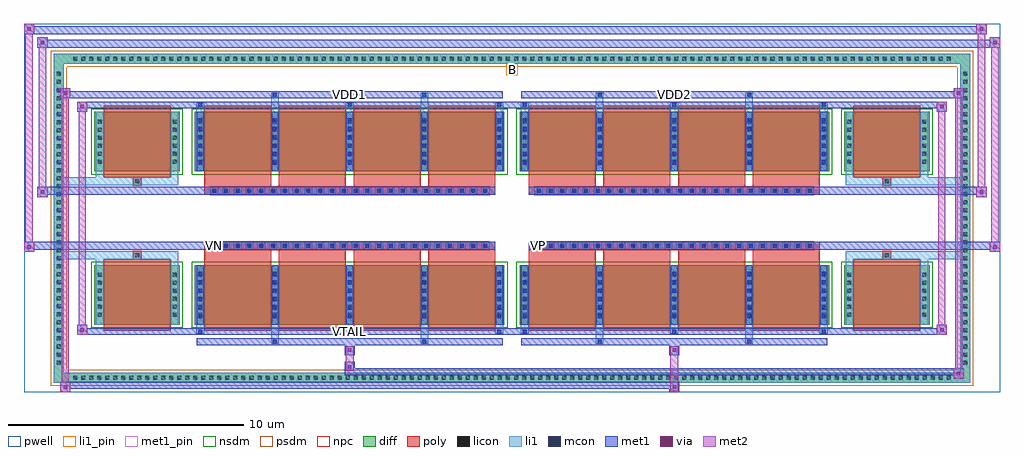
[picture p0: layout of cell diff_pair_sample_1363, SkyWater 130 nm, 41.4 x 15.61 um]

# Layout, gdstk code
import gdstk
lib = gdstk.Library(unit=1e-6, precision=5e-09)
def R(c, l, rs):  # rectangles x0, y0, x1, y1
    for r in rs: c.add(gdstk.rectangle(r[:2], r[2:], *l))
def A(c, l, x, y, w, h, nx, ny, dx, dy):  # array of equal rectangles
    R(c, l, [(x+i*dx, y+j*dy, x+i*dx+w, y+j*dy+h) for i in range(nx) for j in range(ny)])
def P(c, l, *ps):  # polygons
    for p in ps: c.add(gdstk.Polygon(p, *l))
pwell = (64, 44)
diff = (65, 20)
poly = (66, 20)
licon = (66, 44)
li1_pin = (67, 16)
li1 = (67, 20)
mcon = (67, 44)
met1_pin = (68, 16)
met1 = (68, 20)
via = (68, 44)
met2 = (69, 20)
nsdm = (93, 44)
psdm = (94, 20)
npc = (95, 20)

diff_pair_sample_1363 = lib.new_cell('diff_pair_sample_1363')
R(diff_pair_sample_1363, pwell, [(-20.7,-7.37,20.7,8.24), (-18.02,-5.56,-0.01,-0.8), (0.01,-5.56,18.02,-0.8), (-18.02,0.8,-0.01,5.56), (0.01,0.8,18.02,5.56)])
A(diff_pair_sample_1363, diff, -18.735, -6.97, 0.41, 0.41, 110, 2, 0.34, 13.53)
A(diff_pair_sample_1363, diff, -19.43, -6.325, 0.41, 0.41, 1, 37, 0, 0.34)
A(diff_pair_sample_1363, diff, 19.02, -6.325, 0.41, 0.41, 1, 37, 0, 0.34)
R(diff_pair_sample_1363, diff, [(-18.735,-6.97,18.735,-6.56), (-19.43,-6.325,-19.02,6.325), (19.02,-6.325,19.43,6.325), (-17.71,-4.515,-14.09,-1.985), (-13.45,-4.515,-0.32,-1.985), (0.32,-4.515,13.45,-1.985), (14.09,-4.515,17.71,-1.985), (-17.71,1.985,-14.09,4.515), (-13.45,1.985,-0.32,4.515), (0.32,1.985,13.45,4.515), (14.09,1.985,17.71,4.515), (-18.735,6.56,18.735,6.97)])
P(diff_pair_sample_1363, diff, [(19.43,6.97),(-19.43,6.97),(-19.43,-6.56),(-19.02,-6.56),(-19.02,6.56),(19.02,6.56),(19.02,-6.56),(-19.02,-6.56),(-19.43,-6.56),(-19.43,-6.97),(19.43,-6.97)])
A(diff_pair_sample_1363, poly, -13.06, -4.765, 2.84, 3.03, 4, 2, 3.17, 6.5)
A(diff_pair_sample_1363, poly, 0.71, -4.765, 2.84, 3.03, 4, 2, 3.17, 6.5)
A(diff_pair_sample_1363, poly, -13.06, -1.735, 2.84, 0.405, 4, 2, 3.17, 3.065)
A(diff_pair_sample_1363, poly, 0.71, -1.735, 2.84, 0.405, 4, 2, 3.17, 3.065)
A(diff_pair_sample_1363, poly, -12.8, -1.33, 0.33, 0.33, 24, 2, 0.5, 2.33)
A(diff_pair_sample_1363, poly, 0.97, -1.33, 0.33, 0.33, 24, 2, 0.5, 2.33)
R(diff_pair_sample_1363, poly, [(-17.32,-4.765,-14.48,-1.735), (14.48,-4.765,17.32,-1.735), (-16.065,-1.735,-15.735,-1.405), (-16.065,-1.735,-15.735,-1.405), (15.735,-1.735,16.065,-1.405), (15.735,-1.735,16.065,-1.405), (-13.06,-1.33,-0.71,-1), (0.71,-1.33,13.06,-1), (-13.06,1,-0.71,1.33), (0.71,1,13.06,1.33), (-16.065,1.405,-15.735,1.735), (-16.065,1.405,-15.735,1.735), (15.735,1.405,16.065,1.735), (15.735,1.405,16.065,1.735), (-17.32,1.735,-14.48,4.765), (14.48,1.735,17.32,4.765)])
A(diff_pair_sample_1363, licon, -18.615, -6.85, 0.17, 0.17, 110, 2, 0.34, 13.53)
A(diff_pair_sample_1363, licon, -19.31, -6.205, 0.17, 0.17, 1, 37, 0, 0.34)
A(diff_pair_sample_1363, licon, 19.14, -6.205, 0.17, 0.17, 1, 37, 0, 0.34)
A(diff_pair_sample_1363, licon, -17.57, -4.185, 0.17, 0.17, 1, 6, 0, 0.34)
A(diff_pair_sample_1363, licon, -14.4, -4.185, 0.17, 0.17, 1, 6, 0, 0.34)
A(diff_pair_sample_1363, licon, -13.31, -4.185, 0.17, 0.17, 5, 6, 3.17, 0.34)
A(diff_pair_sample_1363, licon, 0.46, -4.185, 0.17, 0.17, 5, 6, 3.17, 0.34)
A(diff_pair_sample_1363, licon, 14.23, -4.185, 0.17, 0.17, 1, 6, 0, 0.34)
A(diff_pair_sample_1363, licon, 17.4, -4.185, 0.17, 0.17, 1, 6, 0, 0.34)
A(diff_pair_sample_1363, licon, -12.72, -1.25, 0.17, 0.17, 24, 2, 0.5, 2.33)
A(diff_pair_sample_1363, licon, 1.05, -1.25, 0.17, 0.17, 24, 2, 0.5, 2.33)
A(diff_pair_sample_1363, licon, -17.57, 2.315, 0.17, 0.17, 1, 6, 0, 0.34)
A(diff_pair_sample_1363, licon, -14.4, 2.315, 0.17, 0.17, 1, 6, 0, 0.34)
A(diff_pair_sample_1363, licon, -13.31, 2.315, 0.17, 0.17, 5, 6, 3.17, 0.34)
A(diff_pair_sample_1363, licon, 0.46, 2.315, 0.17, 0.17, 5, 6, 3.17, 0.34)
A(diff_pair_sample_1363, licon, 14.23, 2.315, 0.17, 0.17, 1, 6, 0, 0.34)
A(diff_pair_sample_1363, licon, 17.4, 2.315, 0.17, 0.17, 1, 6, 0, 0.34)
R(diff_pair_sample_1363, licon, [(-15.985,-1.655,-15.815,-1.485), (15.815,-1.655,15.985,-1.485), (-15.985,1.485,-15.815,1.655), (15.815,1.485,15.985,1.655)])
R(diff_pair_sample_1363, li1_pin, [(-0.25,6.06,0.25,6.56)])
A(diff_pair_sample_1363, li1, -18.695, -6.93, 0.33, 0.33, 110, 2, 0.34, 13.53)
A(diff_pair_sample_1363, li1, -19.39, -6.285, 0.33, 0.33, 1, 37, 0, 0.34)
A(diff_pair_sample_1363, li1, 19.06, -6.285, 0.33, 0.33, 1, 37, 0, 0.34)
A(diff_pair_sample_1363, li1, -13.39, -4.89, 0.33, 0.375, 3, 2, 6.34, 9.405)
A(diff_pair_sample_1363, li1, -13.31, -4.89, 0.17, 0.17, 3, 2, 6.34, 9.61)
A(diff_pair_sample_1363, li1, 0.38, -4.89, 0.33, 0.375, 3, 2, 6.34, 9.405)
A(diff_pair_sample_1363, li1, 0.46, -4.89, 0.17, 0.17, 3, 2, 6.34, 9.61)
A(diff_pair_sample_1363, li1, -13.39, -4.515, 0.33, 2.53, 5, 2, 3.17, 6.5)
A(diff_pair_sample_1363, li1, 0.38, -4.515, 0.33, 2.53, 5, 2, 3.17, 6.5)
A(diff_pair_sample_1363, li1, -17.65, -4.265, 0.33, 0.33, 1, 6, 0, 0.34)
A(diff_pair_sample_1363, li1, -14.48, -4.265, 0.33, 0.33, 1, 6, 0, 0.34)
A(diff_pair_sample_1363, li1, -13.39, -4.265, 0.33, 0.33, 5, 6, 3.17, 0.34)
A(diff_pair_sample_1363, li1, 0.38, -4.265, 0.33, 0.33, 5, 6, 3.17, 0.34)
A(diff_pair_sample_1363, li1, 14.15, -4.265, 0.33, 0.33, 1, 6, 0, 0.34)
A(diff_pair_sample_1363, li1, 17.32, -4.265, 0.33, 0.33, 1, 6, 0, 0.34)
A(diff_pair_sample_1363, li1, -13.31, -4.235, 0.17, 0.17, 5, 6, 3.17, 0.36)
A(diff_pair_sample_1363, li1, -13.31, -4.235, 0.17, 1.97, 5, 2, 3.17, 6.5)
A(diff_pair_sample_1363, li1, 0.46, -4.235, 0.17, 0.17, 5, 6, 3.17, 0.36)
A(diff_pair_sample_1363, li1, 0.46, -4.235, 0.17, 1.97, 5, 2, 3.17, 6.5)
A(diff_pair_sample_1363, li1, -12.8, -1.33, 0.33, 0.33, 24, 2, 0.5, 2.33)
A(diff_pair_sample_1363, li1, 0.97, -1.33, 0.33, 0.33, 24, 2, 0.5, 2.33)
A(diff_pair_sample_1363, li1, -17.65, 2.235, 0.33, 0.33, 1, 6, 0, 0.34)
A(diff_pair_sample_1363, li1, -14.48, 2.235, 0.33, 0.33, 1, 6, 0, 0.34)
A(diff_pair_sample_1363, li1, -13.39, 2.235, 0.33, 0.33, 5, 6, 3.17, 0.34)
A(diff_pair_sample_1363, li1, 0.38, 2.235, 0.33, 0.33, 5, 6, 3.17, 0.34)
A(diff_pair_sample_1363, li1, 14.15, 2.235, 0.33, 0.33, 1, 6, 0, 0.34)
A(diff_pair_sample_1363, li1, 17.32, 2.235, 0.33, 0.33, 1, 6, 0, 0.34)
A(diff_pair_sample_1363, li1, -13.31, 2.265, 0.17, 0.17, 5, 6, 3.17, 0.36)
A(diff_pair_sample_1363, li1, 0.46, 2.265, 0.17, 0.17, 5, 6, 3.17, 0.36)
R(diff_pair_sample_1363, li1, [(-19.43,-6.97,-19.02,-6.56), (-19.43,-6.97,-19.02,-6.56), (-19.02,-6.97,19.02,-6.56), (19.02,-6.97,19.43,-6.56), (19.02,-6.97,19.43,-6.56), (-19.43,-6.56,-19.02,6.56), (19.02,-6.56,19.43,6.56), (-10.22,-5.32,-9.89,-4.515), (-10.14,-5.32,-9.97,-5.15), (-3.88,-5.32,-3.55,-4.515), (-3.8,-5.32,-3.63,-5.15), (3.55,-5.32,3.88,-4.515), (3.63,-5.32,3.8,-5.15), (9.89,-5.32,10.22,-4.515), (9.97,-5.32,10.14,-5.15), (-17.65,-4.515,-17.32,-1.985), (-14.48,-4.515,-14.15,-1.985), (14.15,-4.515,14.48,-1.985), (17.32,-4.515,17.65,-1.985), (-17.65,-1.985,-17.32,-1.405), (-14.48,-1.985,-14.15,-1.405), (14.15,-1.985,14.48,-1.405), (17.32,-1.985,17.65,-1.405), (-19.43,-1.735,-16.065,-1.405), (-17.65,-1.735,-16.065,-1.405), (-16.065,-1.735,-15.735,-1.405), (-15.735,-1.735,-14.15,-1.405), (14.15,-1.735,15.735,-1.405), (15.735,-1.735,16.065,-1.405), (15.735,-1.735,19.43,-1.405), (16.065,-1.735,17.65,-1.405), (-19.43,1.405,-16.065,1.735), (-17.65,1.405,-16.065,1.735), (-17.65,1.405,-17.32,1.985), (-16.065,1.405,-15.735,1.735), (-15.735,1.405,-14.15,1.735), (-14.48,1.405,-14.15,1.985), (14.15,1.405,15.735,1.735), (14.15,1.405,14.48,1.985), (15.735,1.405,16.065,1.735), (15.735,1.405,19.43,1.735), (16.065,1.405,17.65,1.735), (17.32,1.405,17.65,1.985), (-17.65,1.985,-17.32,4.515), (-14.48,1.985,-14.15,4.515), (14.15,1.985,14.48,4.515), (17.32,1.985,17.65,4.515), (-10.22,4.515,-9.89,5.32), (-3.88,4.515,-3.55,5.32), (3.55,4.515,3.88,5.32), (9.89,4.515,10.22,5.32), (-10.14,5.15,-9.97,5.32), (-3.8,5.15,-3.63,5.32), (3.63,5.15,3.8,5.32), (9.97,5.15,10.14,5.32), (-19.43,6.56,-19.02,6.97), (-19.43,6.56,-19.02,6.97), (-19.02,6.56,19.02,6.97), (19.02,6.56,19.43,6.97), (19.02,6.56,19.43,6.97)])
A(diff_pair_sample_1363, mcon, -13.31, -4.89, 0.17, 0.17, 3, 2, 6.34, 9.61)
A(diff_pair_sample_1363, mcon, 0.46, -4.89, 0.17, 0.17, 3, 2, 6.34, 9.61)
A(diff_pair_sample_1363, mcon, -13.31, -4.235, 0.17, 0.17, 5, 6, 3.17, 0.36)
A(diff_pair_sample_1363, mcon, 0.46, -4.235, 0.17, 0.17, 5, 6, 3.17, 0.36)
A(diff_pair_sample_1363, mcon, -12.72, -1.25, 0.17, 0.17, 24, 2, 0.5, 2.33)
A(diff_pair_sample_1363, mcon, 1.05, -1.25, 0.17, 0.17, 24, 2, 0.5, 2.33)
A(diff_pair_sample_1363, mcon, -13.31, 2.265, 0.17, 0.17, 5, 6, 3.17, 0.36)
A(diff_pair_sample_1363, mcon, 0.46, 2.265, 0.17, 0.17, 5, 6, 3.17, 0.36)
R(diff_pair_sample_1363, mcon, [(-10.14,-5.32,-9.97,-5.15), (-3.8,-5.32,-3.63,-5.15), (3.63,-5.32,3.8,-5.15), (9.97,-5.32,10.14,-5.15), (-10.14,5.15,-9.97,5.32), (-3.8,5.15,-3.63,5.32), (3.63,5.15,3.8,5.32), (9.97,5.15,10.14,5.32)])
R(diff_pair_sample_1363, met1_pin, [(-7.02,-4.93,-6.75,-4.66), (-12.77,-1.29,-12.5,-1.02), (1,-1.29,1.27,-1.02), (-7.02,5.11,-6.75,5.38), (6.75,5.11,7.02,5.38)])
A(diff_pair_sample_1363, met1, -13.37, -4.95, 0.29, 0.29, 3, 2, 6.34, 9.61)
A(diff_pair_sample_1363, met1, 0.4, -4.95, 0.29, 0.29, 3, 2, 6.34, 9.61)
A(diff_pair_sample_1363, met1, -13.37, -4.515, 0.29, 2.53, 5, 2, 3.17, 6.5)
A(diff_pair_sample_1363, met1, 0.4, -4.515, 0.29, 2.53, 5, 2, 3.17, 6.5)
A(diff_pair_sample_1363, met1, -13.37, -4.295, 0.29, 0.29, 5, 6, 3.17, 0.36)
A(diff_pair_sample_1363, met1, 0.4, -4.295, 0.29, 0.29, 5, 6, 3.17, 0.36)
A(diff_pair_sample_1363, met1, -12.78, -1.31, 0.29, 0.29, 24, 2, 0.5, 2.33)
A(diff_pair_sample_1363, met1, 0.99, -1.31, 0.29, 0.29, 24, 2, 0.5, 2.33)
A(diff_pair_sample_1363, met1, -13.37, 2.205, 0.29, 0.29, 5, 6, 3.17, 0.36)
A(diff_pair_sample_1363, met1, 0.4, 2.205, 0.29, 0.29, 5, 6, 3.17, 0.36)
R(diff_pair_sample_1363, met1, [(-19.16,-7.37,-18.73,-6.94), (6.67,-7.37,7.1,-6.94), (-19.16,-7.23,7.1,-6.94), (18.73,-6.8,19.16,-6.37), (-7.1,-6.66,19.16,-6.37), (-7.1,-6.52,-6.67,-6.09), (-7.1,-5.81,-6.67,-5.38), (6.67,-5.81,7.1,-5.38), (-13.37,-5.38,-0.4,-5.09), (-10.2,-5.38,-9.91,-5.09), (-3.86,-5.38,-3.57,-5.09), (0.4,-5.38,13.37,-5.09), (3.57,-5.38,3.86,-5.09), (9.91,-5.38,10.2,-5.09), (-18.45,-4.95,-18.02,-4.52), (-18.45,-4.95,-13.37,-4.66), (-13.37,-4.95,-0.4,-4.66), (-0.4,-4.95,0.4,-4.66), (0.4,-4.95,13.37,-4.66), (13.37,-4.95,18.45,-4.66), (18.02,-4.95,18.45,-4.52), (-20.7,-1.43,-20.27,-1), (20.27,-1.43,20.7,-1), (-20.7,-1.33,-0.71,-1), (-13.06,-1.33,-0.71,-1), (0.71,-1.33,13.06,-1), (0.71,-1.33,20.7,-1), (-20.13,0.9,-19.7,1.33), (19.7,0.9,20.13,1.33), (-20.13,1,-13.06,1.33), (-13.06,1,-0.71,1.33), (0.71,1,13.06,1.33), (13.06,1,20.13,1.33), (-18.45,4.52,-18.02,4.95), (18.02,4.52,18.45,4.95), (-18.45,4.66,-13.37,4.95), (-13.37,4.66,-0.4,4.95), (-0.4,4.66,0.4,4.95), (0.4,4.66,13.37,4.95), (13.37,4.66,18.45,4.95), (-19.16,5.09,-18.73,5.52), (-19.16,5.09,-13.37,5.38), (-13.37,5.09,-0.4,5.38), (-10.2,5.09,-9.91,5.38), (-3.86,5.09,-3.57,5.38), (0.4,5.09,13.37,5.38), (3.57,5.09,3.86,5.38), (9.91,5.09,10.2,5.38), (13.37,5.09,19.16,5.38), (18.73,5.09,19.16,5.52), (-20.13,7.24,-19.7,7.67), (-20.13,7.24,-18.02,7.57), (-18.02,7.24,18.02,7.57), (18.02,7.24,20.7,7.57), (20.27,7.24,20.7,7.67), (-20.7,7.81,-20.27,8.24), (-20.7,7.81,-18.02,8.14), (-18.02,7.81,18.02,8.14), (18.02,7.81,20.13,8.14), (19.7,7.81,20.13,8.24)])
R(diff_pair_sample_1363, via, [(-19.02,-7.23,-18.87,-7.08), (6.81,-7.23,6.96,-7.08), (18.87,-6.66,19.02,-6.51), (-6.96,-6.38,-6.81,-6.23), (-6.96,-5.67,-6.81,-5.52), (6.81,-5.67,6.96,-5.52), (-18.31,-4.81,-18.16,-4.66), (18.16,-4.81,18.31,-4.66), (-20.56,-1.29,-20.41,-1.14), (20.41,-1.29,20.56,-1.14), (-19.99,1.04,-19.84,1.19), (19.84,1.04,19.99,1.19), (-18.31,4.66,-18.16,4.81), (18.16,4.66,18.31,4.81), (-19.02,5.23,-18.87,5.38), (18.87,5.23,19.02,5.38), (-19.99,7.38,-19.84,7.53), (20.41,7.38,20.56,7.53), (-20.56,7.95,-20.41,8.1), (19.84,7.95,19.99,8.1)])
R(diff_pair_sample_1363, met2, [(-19.16,-7.37,-18.73,-6.94), (-19.09,-7.37,-18.8,5.52), (-18.8,-7.37,-18.73,-6.94), (-19.11,-7.32,-18.78,-6.99), (6.72,-7.32,7.05,-6.99), (6.72,-6.99,7.05,-5.76), (18.73,-6.8,19.16,-6.37), (18.8,-6.8,19.09,5.52), (19.09,-6.8,19.16,-6.37), (18.78,-6.75,19.11,-6.42), (-7.05,-6.47,-6.72,-6.14), (-7.05,-6.14,-6.72,-5.76), (-7.05,-5.76,-6.72,-5.43), (6.72,-5.76,7.05,-5.43), (-18.45,-4.95,-18.02,-4.52), (-18.38,-4.95,-18.09,4.95), (-18.09,-4.95,-18.02,-4.52), (18.02,-4.95,18.45,-4.52), (18.09,-4.95,18.38,4.95), (18.38,-4.95,18.45,-4.52), (-18.4,-4.9,-18.07,-4.57), (18.07,-4.9,18.4,-4.57), (-20.7,-1.43,-20.27,-1), (-20.65,-1.43,-20.32,8.24), (-20.32,-1.43,-20.27,-1), (20.27,-1.43,20.7,-1), (20.32,-1.43,20.65,7.67), (20.65,-1.43,20.7,-1), (-20.65,-1.38,-20.32,-1.05), (20.32,-1.38,20.65,-1.05), (-20.13,0.9,-19.7,1.33), (-20.08,0.9,-19.75,7.67), (-19.75,0.9,-19.7,1.33), (19.7,0.9,20.13,1.33), (19.75,0.9,20.08,8.24), (20.08,0.9,20.13,1.33), (-20.08,0.95,-19.75,1.28), (19.75,0.95,20.08,1.28), (-18.45,4.52,-18.02,4.95), (-18.09,4.52,-18.02,4.95), (18.02,4.52,18.45,4.95), (18.38,4.52,18.45,4.95), (-18.4,4.57,-18.07,4.9), (18.07,4.57,18.4,4.9), (-19.16,5.09,-18.73,5.52), (-18.8,5.09,-18.73,5.52), (18.73,5.09,19.16,5.52), (19.09,5.09,19.16,5.52), (-19.11,5.14,-18.78,5.47), (18.78,5.14,19.11,5.47), (-20.13,7.24,-19.7,7.67), (-19.75,7.24,-19.7,7.67), (20.27,7.24,20.7,7.67), (20.65,7.24,20.7,7.67), (-20.08,7.29,-19.75,7.62), (20.32,7.29,20.65,7.62), (-20.7,7.81,-20.27,8.24), (-20.32,7.81,-20.27,8.24), (19.7,7.81,20.13,8.24), (20.08,7.81,20.13,8.24), (-20.65,7.86,-20.32,8.19), (19.75,7.86,20.08,8.19)])
R(diff_pair_sample_1363, nsdm, [(-17.84,-4.645,-13.96,-1.855), (-13.58,-4.645,-0.19,-1.855), (0.19,-4.645,13.58,-1.855), (13.96,-4.645,17.84,-1.855), (-17.84,1.855,-13.96,4.645), (-13.58,1.855,-0.19,4.645), (0.19,1.855,13.58,4.645), (13.96,1.855,17.84,4.645)])
P(diff_pair_sample_1363, psdm, [(19.56,7.1),(-19.56,7.1),(-19.56,-6.43),(-18.89,-6.43),(-18.89,6.43),(18.89,6.43),(18.89,-6.43),(-18.89,-6.43),(-19.56,-6.43),(-19.56,-7.1),(19.56,-7.1)])
A(diff_pair_sample_1363, npc, -12.82, -1.35, 0.37, 0.37, 24, 2, 0.5, 2.33)
A(diff_pair_sample_1363, npc, 0.95, -1.35, 0.37, 0.37, 24, 2, 0.5, 2.33)
R(diff_pair_sample_1363, npc, [(-16.085,-1.755,-15.715,-1.385), (15.715,-1.755,16.085,-1.385), (-12.82,-1.35,-11.95,-0.98), (-12.82,-1.35,-11.95,-0.98), (-12.32,-1.35,-11.45,-0.98), (-12.32,-1.35,-11.45,-0.98), (-11.82,-1.35,-10.95,-0.98), (-11.82,-1.35,-10.95,-0.98), (-11.32,-1.35,-10.45,-0.98), (-11.32,-1.35,-10.45,-0.98), (-10.82,-1.35,-9.95,-0.98), (-10.82,-1.35,-9.95,-0.98), (-10.32,-1.35,-9.45,-0.98), (-10.32,-1.35,-9.45,-0.98), (-9.82,-1.35,-8.95,-0.98), (-9.82,-1.35,-8.95,-0.98), (-9.32,-1.35,-8.45,-0.98), (-9.32,-1.35,-8.45,-0.98), (-8.82,-1.35,-7.95,-0.98), (-8.82,-1.35,-7.95,-0.98), (-8.32,-1.35,-7.45,-0.98), (-8.32,-1.35,-7.45,-0.98), (-7.82,-1.35,-6.95,-0.98), (-7.82,-1.35,-6.95,-0.98), (-7.32,-1.35,-6.45,-0.98), (-7.32,-1.35,-6.45,-0.98), (-6.82,-1.35,-5.95,-0.98), (-6.82,-1.35,-5.95,-0.98), (-6.32,-1.35,-5.45,-0.98), (-6.32,-1.35,-5.45,-0.98), (-5.82,-1.35,-4.95,-0.98), (-5.82,-1.35,-4.95,-0.98), (-5.32,-1.35,-4.45,-0.98), (-5.32,-1.35,-4.45,-0.98), (-4.82,-1.35,-3.95,-0.98), (-4.82,-1.35,-3.95,-0.98), (-4.32,-1.35,-3.45,-0.98), (-4.32,-1.35,-3.45,-0.98), (-3.82,-1.35,-2.95,-0.98), (-3.82,-1.35,-2.95,-0.98), (-3.32,-1.35,-2.45,-0.98), (-3.32,-1.35,-2.45,-0.98), (-2.82,-1.35,-1.95,-0.98), (-2.82,-1.35,-1.95,-0.98), (-2.32,-1.35,-1.45,-0.98), (-2.32,-1.35,-1.45,-0.98), (-1.82,-1.35,-0.95,-0.98), (-1.82,-1.35,-0.95,-0.98), (0.95,-1.35,1.82,-0.98), (0.95,-1.35,1.82,-0.98), (1.45,-1.35,2.32,-0.98), (1.45,-1.35,2.32,-0.98), (1.95,-1.35,2.82,-0.98), (1.95,-1.35,2.82,-0.98), (2.45,-1.35,3.32,-0.98), (2.45,-1.35,3.32,-0.98), (2.95,-1.35,3.82,-0.98), (2.95,-1.35,3.82,-0.98), (3.45,-1.35,4.32,-0.98), (3.45,-1.35,4.32,-0.98), (3.95,-1.35,4.82,-0.98), (3.95,-1.35,4.82,-0.98), (4.45,-1.35,5.32,-0.98), (4.45,-1.35,5.32,-0.98), (4.95,-1.35,5.82,-0.98), (4.95,-1.35,5.82,-0.98), (5.45,-1.35,6.32,-0.98), (5.45,-1.35,6.32,-0.98), (5.95,-1.35,6.82,-0.98), (5.95,-1.35,6.82,-0.98), (6.45,-1.35,7.32,-0.98), (6.45,-1.35,7.32,-0.98), (6.95,-1.35,7.82,-0.98), (6.95,-1.35,7.82,-0.98), (7.45,-1.35,8.32,-0.98), (7.45,-1.35,8.32,-0.98), (7.95,-1.35,8.82,-0.98), (7.95,-1.35,8.82,-0.98), (8.45,-1.35,9.32,-0.98), (8.45,-1.35,9.32,-0.98), (8.95,-1.35,9.82,-0.98), (8.95,-1.35,9.82,-0.98), (9.45,-1.35,10.32,-0.98), (9.45,-1.35,10.32,-0.98), (9.95,-1.35,10.82,-0.98), (9.95,-1.35,10.82,-0.98), (10.45,-1.35,11.32,-0.98), (10.45,-1.35,11.32,-0.98), (10.95,-1.35,11.82,-0.98), (10.95,-1.35,11.82,-0.98), (11.45,-1.35,12.32,-0.98), (11.45,-1.35,12.32,-0.98), (11.95,-1.35,12.82,-0.98), (11.95,-1.35,12.82,-0.98), (-12.82,0.98,-11.95,1.35), (-12.82,0.98,-11.95,1.35), (-12.32,0.98,-11.45,1.35), (-12.32,0.98,-11.45,1.35), (-11.82,0.98,-10.95,1.35), (-11.82,0.98,-10.95,1.35), (-11.32,0.98,-10.45,1.35), (-11.32,0.98,-10.45,1.35), (-10.82,0.98,-9.95,1.35), (-10.82,0.98,-9.95,1.35), (-10.32,0.98,-9.45,1.35), (-10.32,0.98,-9.45,1.35), (-9.82,0.98,-8.95,1.35), (-9.82,0.98,-8.95,1.35), (-9.32,0.98,-8.45,1.35), (-9.32,0.98,-8.45,1.35), (-8.82,0.98,-7.95,1.35), (-8.82,0.98,-7.95,1.35), (-8.32,0.98,-7.45,1.35), (-8.32,0.98,-7.45,1.35), (-7.82,0.98,-6.95,1.35), (-7.82,0.98,-6.95,1.35), (-7.32,0.98,-6.45,1.35), (-7.32,0.98,-6.45,1.35), (-6.82,0.98,-5.95,1.35), (-6.82,0.98,-5.95,1.35), (-6.32,0.98,-5.45,1.35), (-6.32,0.98,-5.45,1.35), (-5.82,0.98,-4.95,1.35), (-5.82,0.98,-4.95,1.35), (-5.32,0.98,-4.45,1.35), (-5.32,0.98,-4.45,1.35), (-4.82,0.98,-3.95,1.35), (-4.82,0.98,-3.95,1.35), (-4.32,0.98,-3.45,1.35), (-4.32,0.98,-3.45,1.35), (-3.82,0.98,-2.95,1.35), (-3.82,0.98,-2.95,1.35), (-3.32,0.98,-2.45,1.35), (-3.32,0.98,-2.45,1.35), (-2.82,0.98,-1.95,1.35), (-2.82,0.98,-1.95,1.35), (-2.32,0.98,-1.45,1.35), (-2.32,0.98,-1.45,1.35), (-1.82,0.98,-0.95,1.35), (-1.82,0.98,-0.95,1.35), (0.95,0.98,1.82,1.35), (0.95,0.98,1.82,1.35), (1.45,0.98,2.32,1.35), (1.45,0.98,2.32,1.35), (1.95,0.98,2.82,1.35), (1.95,0.98,2.82,1.35), (2.45,0.98,3.32,1.35), (2.45,0.98,3.32,1.35), (2.95,0.98,3.82,1.35), (2.95,0.98,3.82,1.35), (3.45,0.98,4.32,1.35), (3.45,0.98,4.32,1.35), (3.95,0.98,4.82,1.35), (3.95,0.98,4.82,1.35), (4.45,0.98,5.32,1.35), (4.45,0.98,5.32,1.35), (4.95,0.98,5.82,1.35), (4.95,0.98,5.82,1.35), (5.45,0.98,6.32,1.35), (5.45,0.98,6.32,1.35), (5.95,0.98,6.82,1.35), (5.95,0.98,6.82,1.35), (6.45,0.98,7.32,1.35), (6.45,0.98,7.32,1.35), (6.95,0.98,7.82,1.35), (6.95,0.98,7.82,1.35), (7.45,0.98,8.32,1.35), (7.45,0.98,8.32,1.35), (7.95,0.98,8.82,1.35), (7.95,0.98,8.82,1.35), (8.45,0.98,9.32,1.35), (8.45,0.98,9.32,1.35), (8.95,0.98,9.82,1.35), (8.95,0.98,9.82,1.35), (9.45,0.98,10.32,1.35), (9.45,0.98,10.32,1.35), (9.95,0.98,10.82,1.35), (9.95,0.98,10.82,1.35), (10.45,0.98,11.32,1.35), (10.45,0.98,11.32,1.35), (10.95,0.98,11.82,1.35), (10.95,0.98,11.82,1.35), (11.45,0.98,12.32,1.35), (11.45,0.98,12.32,1.35), (11.95,0.98,12.82,1.35), (11.95,0.98,12.82,1.35), (-16.085,1.385,-15.715,1.755), (15.715,1.385,16.085,1.755)])
diff_pair_sample_1363.add(gdstk.Label('VTAIL', (-6.885,-4.795), layer=68, texttype=5))
diff_pair_sample_1363.add(gdstk.Label('VN', (-12.635,-1.155), layer=68, texttype=5))
diff_pair_sample_1363.add(gdstk.Label('VP', (1.135,-1.155), layer=68, texttype=5))
diff_pair_sample_1363.add(gdstk.Label('B', (0,6.31), layer=67, texttype=5))
diff_pair_sample_1363.add(gdstk.Label('VDD2', (6.885,5.245), layer=68, texttype=5))
diff_pair_sample_1363.add(gdstk.Label('VDD1', (-6.885,5.245), layer=68, texttype=5))

lib.write_gds('diff_pair_sample_1363.gds')
